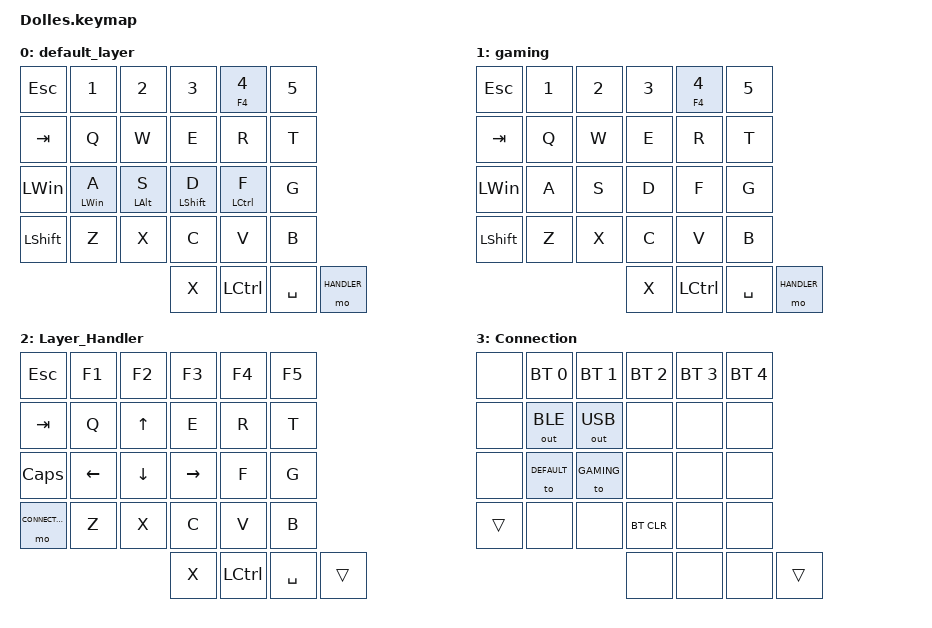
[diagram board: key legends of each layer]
/*
 * Copyright (c) 2022 The ZMK Contributors
 *
 * SPDX-License-Identifier: MIT
 */

#include <behaviors.dtsi>
#include <dt-bindings/zmk/keys.h>
#include <dt-bindings/zmk/bt.h>
#include <dt-bindings/zmk/outputs.h>

#define DEFAULT 0
#define GAMING 1
#define HANDLER 2
#define CONNECTION 3
&mt {
    tapping-term-ms = <400>;
};
/ {
    behaviors {
        pht: positional_hold_tap {
            compatible = "zmk,behavior-hold-tap";
            #binding-cells = <2>;
            tapping-term-ms = <300>;
            quick-tap-ms = <0>;
            flavor = "tap-preferred";
            bindings = <&kp>, <&kp>;
        };
    };

    keymap {
        compatible = "zmk,keymap";

        default_layer {
            bindings = <
                &kp ESC         &kp N1          &kp N2          &kp N3              &mt F4 N4           &kp N5
                &kp TAB         &kp Q           &kp W           &kp E               &kp R               &kp T
                &kp LWIN        &pht LWIN A     &pht LALT S     &pht LSHIFT D       &pht LCTL F         &kp G
                &kp LSHIFT      &kp Z           &kp X           &kp C               &kp V               &kp B
                                                                &kp X               &kp LCTRL           &kp SPACE           &mo HANDLER


            >;
        };
        
        gaming {
            bindings = <
                &kp ESC         &kp N1          &kp N2          &kp N3              &mt F4 N4           &kp N5
                &kp TAB         &kp Q           &kp W           &kp E               &kp R               &kp T
                &kp LWIN        &kp A           &kp S           &kp D               &kp F               &kp G
                &kp LSHIFT      &kp Z           &kp X           &kp C               &kp V               &kp B
                                                                &kp X               &kp LCTRL           &kp SPACE           &mo HANDLER
            >;
        };

        Layer_Handler {
            bindings = <
                &kp ESC         &kp F1          &kp F2          &kp F3              &kp F4              &kp F5
                &kp TAB         &kp Q           &kp UP_ARROW    &kp E               &kp R               &kp T
                &kp CAPSLOCK    &kp LEFT_ARROW  &kp DOWN_ARROW  &kp RIGHT_ARROW     &kp F               &kp G
                &mo CONNECTION  &kp Z           &kp X           &kp C               &kp V               &kp B
                                                                &kp X               &kp LCTRL           &kp SPACE           &trans
            >;
        };

        Connection {
            bindings = <
                &none           &bt BT_SEL 0    &bt BT_SEL 1    &bt BT_SEL 2        &bt BT_SEL 3        &bt BT_SEL 4 
                &none           &out OUT_BLE    &out OUT_USB    &none               &none               &none 
                &none           &to DEFAULT     &to GAMING      &none               &none               &none 
                &trans          &none           &none           &bt BT_CLR          &none               &none 
                                                                &none               &none               &none               &trans 
            >; 
        };
    };

    macros {
        alt_f4: alt_f4 {
            compatible = "zmk,behavior-macro";
            #binding-cells = <0>;
            bindings = 
                <&macro_press &kp LALT>,
                <&macro_tap &kp N4>,
                <&macro_release &kp LALT>;
        };
    };
};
